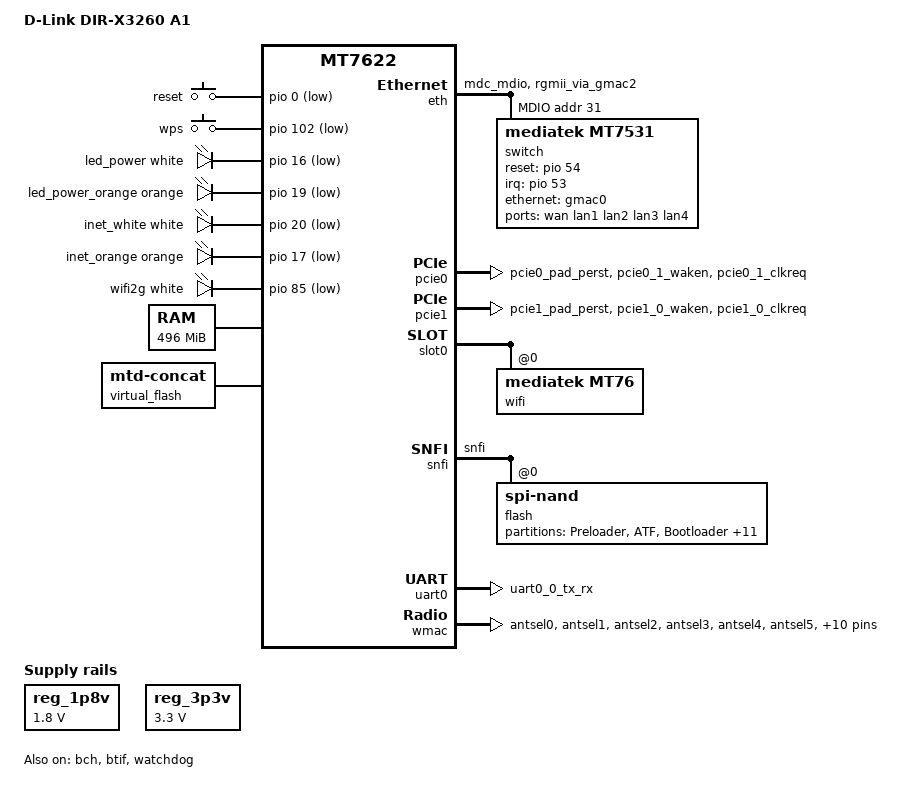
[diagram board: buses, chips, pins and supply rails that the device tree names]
// SPDX-License-Identifier: (GPL-2.0-only OR MIT)

/dts-v1/;
#include "mt7622.dtsi"
#include "mt6380.dtsi"
#include <dt-bindings/gpio/gpio.h>
#include <dt-bindings/input/input.h>
#include <dt-bindings/leds/common.h>
#include <dt-bindings/pinctrl/mt65xx.h>

/ {
	model = "D-Link DIR-X3260 A1";
	compatible = "dlink,dir-x3260-a1", "mediatek,mt7622";

	aliases {
		serial0 = &uart0;
		led-boot = &led_power_orange;
		led-failsafe = &led_power_orange;
		led-running = &led_power;
		led-upgrade = &led_power_orange;
	};

	chosen {
		stdout-path = "serial0:115200n8";
		bootargs = "earlycon=uart8250,mmio32,0x11002000 console=ttyS0,115200n1 swiotlb=512";
	};

	cpus {
		cpu@0 {
			proc-supply = <&mt6380_vcpu_reg>;
			sram-supply = <&mt6380_vm_reg>;
		};

		cpu@1 {
			proc-supply = <&mt6380_vcpu_reg>;
			sram-supply = <&mt6380_vm_reg>;
		};
	};

	gpio-keys {
		compatible = "gpio-keys";

		reset {
			label = "reset";
			gpios = <&pio 0 GPIO_ACTIVE_LOW>;
			linux,code = <KEY_RESTART>;
		};

		wps {
			label = "wps";
			gpios = <&pio 102 GPIO_ACTIVE_LOW>;
			linux,code = <KEY_WPS_BUTTON>;
		};
	};

	gpio-leds {
		compatible = "gpio-leds";

		led_power: power_white {
			color = <LED_COLOR_ID_WHITE>;
			function = LED_FUNCTION_STATUS;
			gpios = <&pio 16 GPIO_ACTIVE_LOW>;
			default-state = "on";
		};

		led_power_orange: power_orange {
			color = <LED_COLOR_ID_ORANGE>;
			function = LED_FUNCTION_STATUS;
			gpios = <&pio 19 GPIO_ACTIVE_LOW>;
			default-state = "off";
		};

		inet_white {
			color = <LED_COLOR_ID_WHITE>;
			function = LED_FUNCTION_WAN_ONLINE;
			gpios = <&pio 20 GPIO_ACTIVE_LOW>;
			default-state = "off";
		};

		inet_orange {
			color = <LED_COLOR_ID_ORANGE>;
			function = LED_FUNCTION_WAN;
			gpios = <&pio 17 GPIO_ACTIVE_LOW>;
			default-state = "off";
		};

		wifi2g {
			color = <LED_COLOR_ID_WHITE>;
			function = LED_FUNCTION_WLAN_2GHZ;
			gpios = <&pio 85 GPIO_ACTIVE_LOW>;
			default-state = "off";
			linux,default-trigger = "phy0radio";
		};
	};

	memory {
		reg = <0 0x40000000 0 0x1F000000>;
	};

	reg_1p8v: regulator-1p8v {
		compatible = "regulator-fixed";
		regulator-name = "fixed-1.8V";
		regulator-min-microvolt = <1800000>;
		regulator-max-microvolt = <1800000>;
		regulator-always-on;
	};

	reg_3p3v: regulator-3p3v {
		compatible = "regulator-fixed";
		regulator-name = "fixed-3.3V";
		regulator-min-microvolt = <3300000>;
		regulator-max-microvolt = <3300000>;
		regulator-boot-on;
		regulator-always-on;
	};

	virtual_flash {
		compatible = "mtd-concat";

		devices = <&fwconcat0 &fwconcat1>;

		partitions {
			compatible = "fixed-partitions";
			#address-cells = <1>;
			#size-cells = <1>;

			partition@0 {
				label = "ubi";
				reg = <0x0 0x0>;
			};
		};
	};
};

&bch {
	status = "okay";
};

&btif {
	status = "okay";
};

&eth {
	pinctrl-names = "default";
	pinctrl-0 = <&eth_pins>;
	status = "okay";

	gmac0: mac@0 {
		compatible = "mediatek,eth-mac";
		reg = <0>;
		phy-mode = "2500base-x";

		fixed-link {
			speed = <2500>;
			full-duplex;
			pause;
		};
	};

	mdio-bus {
		#address-cells = <1>;
		#size-cells = <0>;

		switch@1f {
			compatible = "mediatek,mt7531";
			reg = <31>;
			interrupt-controller;
			#interrupt-cells = <1>;
			interrupt-parent = <&pio>;
			interrupts = <53 IRQ_TYPE_LEVEL_HIGH>;
			reset-gpios = <&pio 54 0>;

			ports {
				#address-cells = <1>;
				#size-cells = <0>;

				wan: port@0 {
					reg = <0>;
					label = "wan";
				};

				port@1 {
					reg = <1>;
					label = "lan1";
				};

				port@2 {
					reg = <2>;
					label = "lan2";
				};

				port@3 {
					reg = <3>;
					label = "lan3";
				};

				port@4 {
					reg = <4>;
					label = "lan4";
				};

				port@6 {
					reg = <6>;
					ethernet = <&gmac0>;
					phy-mode = "2500base-x";

					fixed-link {
						speed = <2500>;
						full-duplex;
						pause;
					};
				};
			};
		};

	};
};

&pcie0 {
	pinctrl-names = "default";
	pinctrl-0 = <&pcie0_pins>;
	status = "okay";
};

&pcie1 {
	pinctrl-names = "default";
	pinctrl-0 = <&pcie1_pins>;
	status = "okay";
};

&pio {
	epa_elna_pins: epa-elna-pins {
		mux {
			function = "antsel";
			groups = "antsel0", "antsel1", "antsel2", "antsel3",
				"antsel4", "antsel5", "antsel6", "antsel7",
				"antsel8", "antsel9", "antsel12", "antsel13",
				"antsel14", "antsel15", "antsel16", "antsel17";
		};
	};

	eth_pins: eth-pins {
		mux {
			function = "eth";
			groups = "mdc_mdio", "rgmii_via_gmac2";
		};
	};

	pcie0_pins: pcie0-pins {
		mux {
			function = "pcie";
			groups = "pcie0_pad_perst",
				 "pcie0_1_waken",
				 "pcie0_1_clkreq";
		};
	};

	pcie1_pins: pcie1-pins {
		mux {
			function = "pcie";
			groups = "pcie1_pad_perst",
				 "pcie1_0_waken",
				 "pcie1_0_clkreq";
		};
	};

	pmic_bus_pins: pmic-bus-pins {
		mux {
			function = "pmic";
			groups = "pmic_bus";
		};
	};

	/* Serial NAND is shared pin with SPI-NOR */
	serial_nand_pins: serial-nand-pins {
		mux {
			function = "flash";
			groups = "snfi";
		};

		conf {
			groups = "snfi";
			drive-strength = <MTK_DRIVE_12mA>;
		};
	};

	uart0_pins: uart0-pins {
		mux {
			function = "uart";
			groups = "uart0_0_tx_rx" ;
		};
	};

	watchdog_pins: watchdog-pins {
		mux {
			function = "watchdog";
			groups = "watchdog";
		};
	};
};

&pwrap {
	pinctrl-names = "default";
	pinctrl-0 = <&pmic_bus_pins>;

	status = "okay";
};

&sata {
	status = "disabled";
};

&sata_phy {
	status = "disabled";
};

&slot0 {
	wifi@0,0 {
		compatible = "mediatek,mt76";
		reg = <0x0000 0 0 0 0>;
		ieee80211-freq-limit = <5000000 6000000>;
		mediatek,disable-radar-background;
		mediatek,mtd-eeprom = <&factory 0x5000>;
	};
};

&snfi {
	pinctrl-names = "default";
	pinctrl-0 = <&serial_nand_pins>;
	status = "okay";

	flash@0 {
		compatible = "spi-nand";
		nand-ecc-engine = <&snfi>;
		reg = <0>;
		spi-rx-bus-width = <4>;
		spi-tx-bus-width = <4>;

		partitions {
			compatible = "fixed-partitions";
			#address-cells = <1>;
			#size-cells = <1>;

			partition@0 {
				label = "Preloader";
				reg = <0x00000 0x0080000>;
				read-only;
			};

			partition@80000 {
				label = "ATF";
				reg = <0x80000 0x0040000>;
				read-only;
			};

			partition@c0000 {
				label = "Bootloader";
				reg = <0xc0000 0x0080000>;
				read-only;
			};

			partition@140000 {
				label = "Config";
				reg = <0x140000 0x0080000>;
				read-only;
			};

			factory: partition@1c0000 {
				label = "Factory";
				reg = <0x1c0000 0x0100000>;
				read-only;
			};

			partition@2C0000 {
				label = "Config2";
				reg = <0x2C0000 0x40000>;
				read-only;
			};

			partition@300000 {
				label = "kernel";
				reg = <0x300000 0x800000>;
			};

			fwconcat0: partition@B00000 {
				label = "fwconcat0";
				reg = <0xB00000 0x1800000>;
			};

			partition@2300000 {
				label = "kernel2";
				reg = <0x2300000 0x800000>;
				read-only;
			};

			fwconcat1: partition@2B00000 {
				label = "fwconcat1";
				reg = <0x2B00000 0x1800000>;
			};

			partition@4300000 {
				/*
				 *  originally rootfs_data.
				 *  Renamed to avoid conflict with OW's UBI version.
				 */
				label = "rootfs_data_stock";
				reg = <0x4300000 0xA00000>;
				read-only;
			};

			partition@4D00000 {
				label = "Private";
				reg = <0x4D00000 0x1400000>;
				read-only;
			};

			partition@6100000 {
				label = "mydlink";
				reg = <0x6100000 0x600000>;
				read-only;
			};

			partition@6700000 {
				label = "myconfig";
				reg = <0x6700000 0xA00000>;
				read-only;
			};
		};
	};
};

&ssusb {
	status = "disabled";
};

&u3phy {
	status = "disabled";
};

&uart0 {
	pinctrl-names = "default";
	pinctrl-0 = <&uart0_pins>;
	status = "okay";
};

&rtc {
	status = "disabled";
};

&watchdog {
	pinctrl-names = "default";
	pinctrl-0 = <&watchdog_pins>;
	status = "okay";
};

&wmac {
	mediatek,mtd-eeprom = <&factory 0x0>;
	pinctrl-names = "default";
	pinctrl-0 = <&epa_elna_pins>;
	status = "okay";
};
